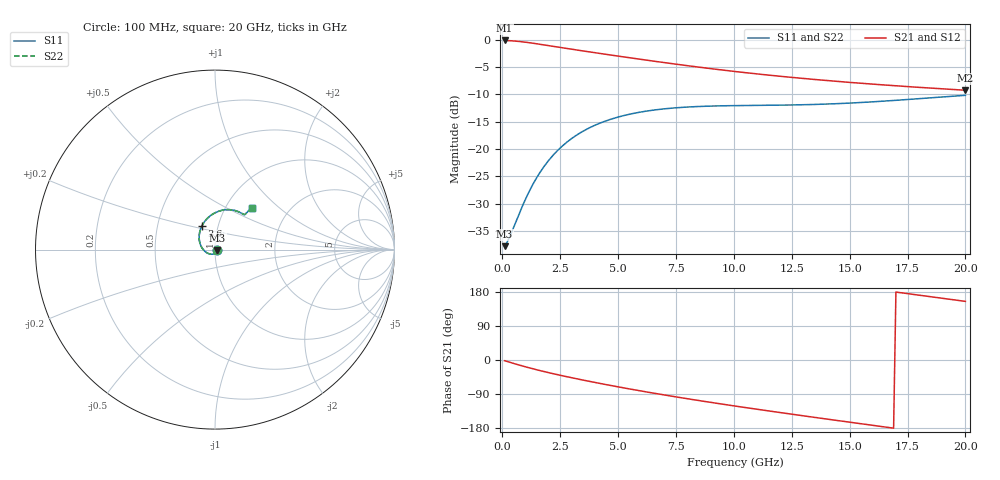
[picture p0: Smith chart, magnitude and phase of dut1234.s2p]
! Touchstone file exported from HFSS 2024.1.0
!  File:  C:/UserFiles/LocalFiles/RDL_TSV_Batchsim/temp_RDL_TSV_1234_1780265525.aedt
!  Generated:  06:27:02 AM Jun  1, 2026
!  Design:  RDL_TSV
!  Project:  temp_RDL_TSV_1234_1780265525
!  Setup:  Setup1
!  Solution:  Sweep
! Variables:
!  dtsv = 14.18um
!  hbump = 3um
!  htsv = 79.43um
!  ldown = 400.35um
!  lrdl = 376.58um
!  p = 40
!  p1 = 44.69um
!  rhole = 10um
!  subl = 2707.37um
!  t = 450um
!  tdown = 4.76um
!  trdl = 4.15um
!  viad = 10um
!  wdown = 25.88um
!  wrdl = 14.87um
!  xbump = 18um
# GHz S MA R 50.000000
! Terminal data exported
! Port[1] = TM1_1_T1
! Port[2] = TM1_4_T1
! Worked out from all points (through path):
!   200 points, 100 MHz to 20 GHz, reference 50 ohm
!   highest |S21| = -0.12 dB at 100 MHz (marker M1); lowest = -9.2 dB at 20 GHz (marker M2)
!   group delay of S21, straight-line fit = 26.9 ps
!   lowest |S11| = -37.8 dB at 100 MHz (marker M3), VSWR 1.03, Z = 51.2 - j0.38 ohm
!   |S11| at or under -10 dB: start of sweep to end of sweep
!   |S22| runs from -37.8 to -10.2 dB; largest |S21 - S12| = 3.6e-14
!   S11 on the Smith chart (normalised r, x): 100 MHz: 1.02, -0.01; 3.6 GHz: 0.84, +0.22; 20 GHz: 1.33, +0.68
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0.1  0.0129 -16.7  0.9868 -1.9  0.9868 -1.9  0.0129 -16.7
! Gamma 0 0 0 0
! Port Impedance 50 0 50 0
0.3  0.0154 -50.4  0.9825 -5.6  0.9825 -5.6  0.01541 -50.4
0.7  0.02469 -104.7  0.9673 -12.8  0.9673 -12.8  0.0247 -104.7
1.1  0.03847 -141.5  0.9452 -19.6  0.9452 -19.6  0.03848 -141.4
1.4  0.0509 -162.0  0.9258 -24.4  0.9258 -24.4  0.05089 -162.0
1.7  0.06443 -178.7  0.9054 -29.0  0.9054 -29.0  0.06442 -178.6
2.1  0.0833 163.3  0.8781 -34.8  0.8781 -34.8  0.08328 163.4
2.5  0.1022 148.7  0.8515 -40.3  0.8515 -40.3  0.1022 148.8
3  0.125 133.8  0.82 -46.9  0.82 -46.9  0.125 133.9
3.5  0.1461 121.6  0.7902 -53.2  0.7902 -53.2  0.1461 121.6
3.6  0.1501 119.4  0.7845 -54.4  0.7845 -54.4  0.15 119.4
4.3  0.1754 105.8  0.7458 -62.8  0.7458 -62.8  0.1753 105.8
5.1  0.1988 93.3  0.7046 -72.0  0.7046 -72.0  0.1987 93.4
5.9  0.2167 83.3  0.6663 -80.8  0.6663 -80.8  0.2166 83.4
6.8  0.231 74.3  0.6267 -90.3  0.6267 -90.3  0.2309 74.3
8.4  0.2448 62.7  0.5651 -106.2  0.5651 -106.2  0.2447 62.7
10.1  0.2499 55.1  0.5114 -122.0  0.5114 -122.0  0.2498 55.2
11.7  0.2518 51.3  0.4705 -136.1  0.4705 -136.1  0.2517 51.4
13.4  0.2557 49.7  0.4351 -150.7  0.4351 -150.7  0.2556 49.8
15  0.2634 49.3  0.4077 -164.1  0.4077 -164.1  0.2634 49.5
16.7  0.2765 49.2  0.3833 -178.2  0.3833 -178.2  0.2766 49.4
20  0.3104 47.7  0.3455 154.7  0.3455 154.7  0.3108 47.9
